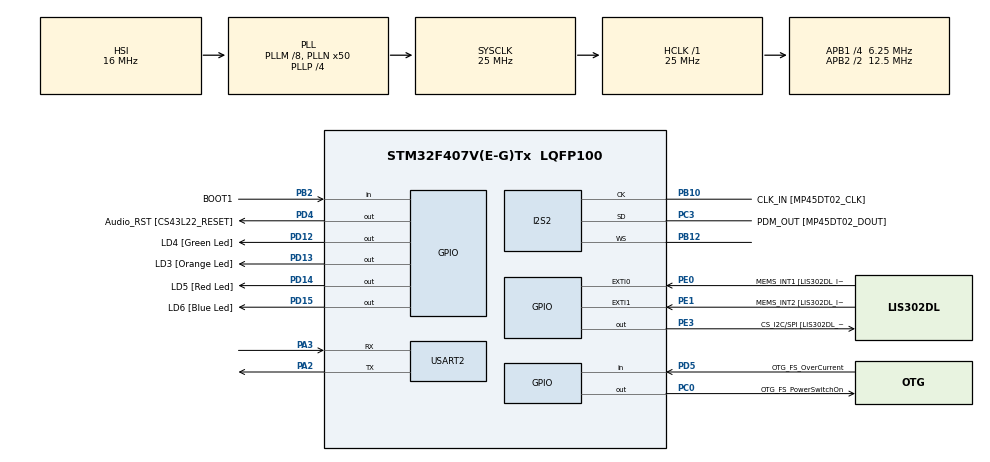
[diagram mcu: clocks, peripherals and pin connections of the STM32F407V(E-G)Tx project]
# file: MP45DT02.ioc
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I2S2.AudioFreq=I2S_AUDIOFREQ_192K
I2S2.ErrorAudioFreq=0.8 %
I2S2.FullDuplexMode=I2S_FULLDUPLEXMODE_DISABLE
I2S2.Instance=SPI$Index
I2S2.Mode=I2S_MODE_MASTER_RX
I2S2.RealAudioFreq=193.548 KHz
I2S2.VirtualMode=I2S_MODE_MASTER
Mcu.Family=STM32F4
Mcu.Name=STM32F407V(E-G)Tx
Mcu.Package=LQFP100
NVIC.PriorityGroup=NVIC_PRIORITYGROUP_0
PA10.GPIO_Label=OTG_FS_ID
PA10.GPIO_Mode=GPIO_MODE_AF_PP
PA10.GPIO_PuPd=GPIO_NOPULL
PA10.GPIO_Speed=GPIO_SPEED_FREQ_LOW
PA10.Signal=USB_OTG_FS_ID
PA11.GPIO_Label=OTG_FS_DM
PA11.GPIO_Mode=GPIO_MODE_AF_PP
PA11.GPIO_PuPd=GPIO_NOPULL
PA11.GPIO_Speed=GPIO_SPEED_FREQ_LOW
PA11.Signal=USB_OTG_FS_DM
PA12.GPIO_Label=OTG_FS_DP
PA12.GPIO_Mode=GPIO_MODE_AF_PP
PA12.GPIO_PuPd=GPIO_NOPULL
PA12.GPIO_Speed=GPIO_SPEED_FREQ_LOW
PA12.Signal=USB_OTG_FS_DP
PA13.GPIO_Label=SWDIO
PA13.Signal=SYS_JTMS-SWDIO
PA14.GPIO_Label=SWCLK
PA14.Signal=SYS_JTCK-SWCLK
PA2.Mode=Asynchronous
PA2.Signal=USART2_TX
PA3.Mode=Asynchronous
PA3.Signal=USART2_RX
PA4.GPIO_Label=I2S3_WS [CS43L22_LRCK]
PA4.GPIO_Mode=GPIO_MODE_AF_PP
PA4.GPIO_PuPd=GPIO_NOPULL
PA4.GPIO_Speed=GPIO_SPEED_FREQ_LOW
PA4.Signal=I2S3_WS
PA5.GPIO_Label=SPI1_SCK [LIS302DL_SCL/SPC]
PA5.GPIO_Mode=GPIO_MODE_AF_PP
PA5.GPIO_PuPd=GPIO_NOPULL
PA5.GPIO_Speed=GPIO_SPEED_FREQ_LOW
PA5.Signal=SPI1_SCK
PA6.GPIO_Label=SPI1_MISO [LIS302DL_SDO]
PA6.GPIO_Mode=GPIO_MODE_AF_PP
PA6.GPIO_PuPd=GPIO_NOPULL
PA6.GPIO_Speed=GPIO_SPEED_FREQ_LOW
PA6.Signal=SPI1_MISO
PA7.GPIO_Label=SPI1_MOSI [LIS302DL_SDA/SDI/SDO]
PA7.GPIO_Mode=GPIO_MODE_AF_PP
PA7.GPIO_PuPd=GPIO_NOPULL
PA7.GPIO_Speed=GPIO_SPEED_FREQ_LOW
PA7.Signal=SPI1_MOSI
PA9.GPIO_Label=VBUS_FS
PA9.GPIO_Mode=GPIO_MODE_INPUT
PA9.GPIO_PuPd=GPIO_NOPULL
PA9.Signal=USB_OTG_FS_VBUS
PB10.GPIO_Label=CLK_IN [MP45DT02_CLK]
PB10.GPIO_Mode=GPIO_MODE_AF_PP
PB10.GPIO_PuPd=GPIO_NOPULL
PB10.GPIO_Speed=GPIO_SPEED_FREQ_LOW
PB10.Mode=Half_Duplex_Master
PB10.Signal=I2S2_CK
PB12.Mode=Half_Duplex_Master
PB12.Signal=I2S2_WS
PB2.GPIO_Label=BOOT1
PB2.GPIO_Mode=GPIO_MODE_INPUT
PB2.GPIO_PuPd=GPIO_NOPULL
PB2.Signal=GPIO_Input
PB3.GPIO_Label=SWO
PB3.Signal=SYS_JTDO-SWO
PB6.GPIO_Label=Audio_SCL [CS43L22_SCL]
PB6.GPIO_Mode=GPIO_MODE_AF_OD
PB6.GPIO_PuPd=GPIO_NOPULL
PB6.GPIO_Speed=GPIO_SPEED_FREQ_LOW
PB6.Signal=I2C1_SCL
PB9.GPIO_Label=Audio_SDA [CS43L22_SDA]
PB9.GPIO_Mode=GPIO_MODE_AF_OD
PB9.GPIO_PuPd=GPIO_NOPULL
PB9.GPIO_Speed=GPIO_SPEED_FREQ_LOW
PB9.Signal=I2C1_SDA
PC0.GPIO_Label=OTG_FS_PowerSwitchOn
PC0.GPIO_PuPd=GPIO_NOPULL
PC0.GPIO_Speed=GPIO_SPEED_FREQ_LOW
PC0.PinState=GPIO_PIN_SET
PC0.Signal=GPIO_Output
PC10.GPIO_Label=I2S3_SCK [CS43L22_SCLK]
PC10.GPIO_Mode=GPIO_MODE_AF_PP
PC10.GPIO_PuPd=GPIO_NOPULL
PC10.GPIO_Speed=GPIO_SPEED_FREQ_LOW
PC10.Signal=I2S3_CK
PC12.GPIO_Label=I2S3_SD [CS43L22_SDIN]
PC12.GPIO_Mode=GPIO_MODE_AF_PP
PC12.GPIO_PuPd=GPIO_NOPULL
PC12.GPIO_Speed=GPIO_SPEED_FREQ_LOW
PC12.Signal=I2S3_SD
PC14-OSC32_IN.GPIO_Label=PC14-OSC32_IN
PC14-OSC32_IN.Signal=RCC_OSC32_IN
PC15-OSC32_OUT.GPIO_Label=PC15-OSC32_OUT
PC15-OSC32_OUT.Signal=RCC_OSC32_OUT
PC3.GPIO_Label=PDM_OUT [MP45DT02_DOUT]
PC3.GPIO_Mode=GPIO_MODE_AF_PP
PC3.GPIO_PuPd=GPIO_NOPULL
PC3.GPIO_Speed=GPIO_SPEED_FREQ_LOW
PC3.Mode=Half_Duplex_Master
PC3.Signal=I2S2_SD
PC7.GPIO_Label=I2S3_MCK [CS43L22_MCLK]
PC7.GPIO_Mode=GPIO_MODE_AF_PP
PC7.GPIO_PuPd=GPIO_NOPULL
PC7.GPIO_Speed=GPIO_SPEED_FREQ_LOW
PC7.Signal=I2S3_MCK
PD12.GPIO_Label=LD4 [Green Led]
PD12.GPIO_PuPd=GPIO_NOPULL
PD12.GPIO_Speed=GPIO_SPEED_FREQ_LOW
PD12.Signal=GPIO_Output
PD13.GPIO_Label=LD3 [Orange Led]
PD13.GPIO_PuPd=GPIO_NOPULL
PD13.GPIO_Speed=GPIO_SPEED_FREQ_LOW
PD13.Signal=GPIO_Output
PD14.GPIO_Label=LD5 [Red Led]
PD14.GPIO_PuPd=GPIO_NOPULL
PD14.GPIO_Speed=GPIO_SPEED_FREQ_LOW
PD14.Signal=GPIO_Output
PD15.GPIO_Label=LD6 [Blue Led]
PD15.GPIO_PuPd=GPIO_NOPULL
PD15.GPIO_Speed=GPIO_SPEED_FREQ_LOW
PD15.Signal=GPIO_Output
PD4.GPIO_Label=Audio_RST [CS43L22_RESET]
PD4.GPIO_PuPd=GPIO_NOPULL
PD4.GPIO_Speed=GPIO_SPEED_FREQ_LOW
PD4.Signal=GPIO_Output
PD5.GPIO_Label=OTG_FS_OverCurrent
PD5.GPIO_Mode=GPIO_MODE_INPUT
PD5.GPIO_PuPd=GPIO_NOPULL
PD5.Signal=GPIO_Input
PE0.GPIO_Label=MEMS_INT1 [LIS302DL_INT1]
PE0.Signal=GPXTI0
PE1.GPIO_Label=MEMS_INT2 [LIS302DL_INT2]
PE1.GPIO_ModeDefaultEXTI=GPIO_MODE_EVT_RISING
PE1.GPIO_PuPd=GPIO_NOPULL
PE1.Signal=GPXTI1
PE3.GPIO_Label=CS_I2C/SPI [LIS302DL_CS_I2C/SPI]
PE3.GPIO_PuPd=GPIO_NOPULL
PE3.GPIO_Speed=GPIO_SPEED_FREQ_LOW
PE3.Signal=GPIO_Output
PH0-OSC_IN.GPIO_Label=PH0-OSC_IN
PH0-OSC_IN.Signal=RCC_OSC_IN
PH1-OSC_OUT.GPIO_Label=PH1-OSC_OUT
PH1-OSC_OUT.Signal=RCC_OSC_OUT
ProjectManager.HeapSize=0x200
ProjectManager.StackSize=0x400
ProjectManager.TargetToolchain=SW4STM32
RCC.48MHZClocksFreq_Value=14285714.285714285
RCC.AHBFreq_Value=25000000
RCC.APB1CLKDivider=RCC_HCLK_DIV4
RCC.APB1Freq_Value=6250000
RCC.APB1TimFreq_Value=12500000
RCC.APB2CLKDivider=RCC_HCLK_DIV2
RCC.APB2Freq_Value=12500000
RCC.APB2TimFreq_Value=25000000
RCC.CortexFreq_Value=25000000
RCC.HCLKFreq_Value=25000000
RCC.HSE_VALUE=8000000
RCC.HSI_VALUE=16000000
RCC.LSE_VALUE=32768
RCC.PLLM=8
RCC.PLLN=50
RCC.PLLP=RCC_PLLP_DIV4
RCC.PLLQ=7
RCC.SYSCLKFreq_VALUE=25000000
RCC.SYSCLKSource=RCC_SYSCLKSOURCE_PLLCLK
RCC.VCOOutputFreq_Value=100000000
USART2.VirtualMode=VM_ASYNC
board=STM32F407G-DISC1

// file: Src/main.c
/**
 ******************************************************************************
 * File Name          : main.c
 * Description        : Main program body
 ******************************************************************************
 *
 * COPYRIGHT(c) 2559 STMicroelectronics
 *
 * Redistribution and use in source and binary forms, with or without modification,
 * are permitted provided that the following conditions are met:
 *   1. Redistributions of source code must retain the above copyright notice,
 *      this list of conditions and the following disclaimer.
 *   2. Redistributions in binary form must reproduce the above copyright notice,
 *      this list of conditions and the following disclaimer in the documentation
 *      and/or other materials provided with the distribution.
 *   3. Neither the name of STMicroelectronics nor the names of its contributors
 *      may be used to endorse or promote products derived from this software
 *      without specific prior written permission.
 *
 * THIS SOFTWARE IS PROVIDED BY THE COPYRIGHT HOLDERS AND CONTRIBUTORS "AS IS"
 * AND ANY EXPRESS OR IMPLIED WARRANTIES, INCLUDING, BUT NOT LIMITED TO, THE
 * IMPLIED WARRANTIES OF MERCHANTABILITY AND FITNESS FOR A PARTICULAR PURPOSE ARE
 * DISCLAIMED. IN NO EVENT SHALL THE COPYRIGHT HOLDER OR CONTRIBUTORS BE LIABLE
 * FOR ANY DIRECT, INDIRECT, INCIDENTAL, SPECIAL, EXEMPLARY, OR CONSEQUENTIAL
 * DAMAGES (INCLUDING, BUT NOT LIMITED TO, PROCUREMENT OF SUBSTITUTE GOODS OR
 * SERVICES; LOSS OF USE, DATA, OR PROFITS; OR BUSINESS INTERRUPTION) HOWEVER
 * CAUSED AND ON ANY THEORY OF LIABILITY, WHETHER IN CONTRACT, STRICT LIABILITY,
 * OR TORT (INCLUDING NEGLIGENCE OR OTHERWISE) ARISING IN ANY WAY OUT OF THE USE
 * OF THIS SOFTWARE, EVEN IF ADVISED OF THE POSSIBILITY OF SUCH DAMAGE.
 *
 ******************************************************************************
 */
#include "main.h"
#include "stm32f4xx_hal.h"
#include <string.h>

I2S_HandleTypeDef hi2s2;

UART_HandleTypeDef huart2;

/* USER CODE BEGIN PV */
/* Private variables ---------------------------------------------------------*/
//float test[2];
/* USER CODE END PV */

#define PDM_BUFFER_SIZE 20
#define PCM_BUFFER_SIZE 1000
#define LEAKY_KEEP_RATE 0.95
#define UART_DEBUG_TICK_RATE 100
#define PDM_BLOCK_SIZE_BITS 16

void SystemClock_Config(void);
void Error_Handler(void);
static void MX_GPIO_Init(void);
static void MX_I2S2_Init(void);
static void MX_USART2_UART_Init(void);

/* USER CODE BEGIN PFP */
/* Private function prototypes -----------------------------------------------*/

/* USER CODE END PFP */

/* USER CODE BEGIN 0 */

float absFloat(float floa) {
	return floa < 0 ? -floa : floa;
}

/* USER CODE END 0 */

int main(void) {

	/* USER CODE BEGIN 1 */
	uint16_t PDM_buffer[PDM_BUFFER_SIZE];
	uint16_t PDM_value = 0; // from microphone (MP45DT02) by I2S receive...
	uint16_t pcmCount = 0;

	uint8_t i;
	uint8_t PCM_value = 0;

	float leaky_PCM_buffer = 0.0;
	float leaky_AMP_buffer = 0.0;

	char uart_temp_display_buffer[100];

	//double pcm_square = 0;
	float maxAmp = 0;
	int check = 0;

	/* USER CODE END 1 */

	HAL_Init();

	/* Configure the system clock */
	SystemClock_Config();

	/* Initialize all configured peripherals */
	MX_GPIO_Init();
	MX_I2S2_Init();
	MX_USART2_UART_Init();

	/* Infinite loop */
	while (1) {

		/* USER CODE BEGIN 3 */
		HAL_I2S_Receive(&hi2s2, PDM_buffer, PDM_BUFFER_SIZE, 1000);

		//calculate...

		for (i = 0; i < PDM_BUFFER_SIZE; i++) {
			//to start from -8 to 8 (change from only 16 bits to signed number)
			PCM_value = -PDM_BLOCK_SIZE_BITS / 2;
			PDM_value = PDM_buffer[i];
			//count '1' in pdm value
			while (PDM_value != 0)
			{
				PCM_value++;
				PDM_value ^= PDM_value & -PDM_value;
			}

			leaky_PCM_buffer += PCM_value;
			leaky_PCM_buffer *= LEAKY_KEEP_RATE;
			leaky_AMP_buffer += absFloat(leaky_PCM_buffer);
			leaky_AMP_buffer *= LEAKY_KEEP_RATE;
			//test[0] = leaky_PCM_buffer;
			//test[1] = leaky_AMP_buffer;

		}

		pcmCount++;

		if (maxAmp < leaky_AMP_buffer) // save new maxAmp...
			maxAmp = leaky_AMP_buffer;

		//pcm_square += (leaky_AMP_buffer / 500) * leaky_AMP_buffer;

		if (pcmCount == 500) { //wait...
			if(maxAmp >= 65000 && check == 0){
				//HAL_GPIO_TogglePin(GPIOD, 1<<12);
				check = 1;
				int d[1] = {1};
				sprintf(uart_temp_display_buffer, d, sizeof(d)); //save new format for OUTPUT...
				HAL_UART_Transmit(&huart2, (uint8_t*)uart_temp_display_buffer, strlen(uart_temp_display_buffer), 100);
				//HAL_Delay(100);
			} else {
				check = 0;
			}
			//"L : %d\n\r"

			// output...

			pcmCount = 0;
			//pcm_square = 0;
			maxAmp = 0;
			leaky_PCM_buffer = 0;
			leaky_AMP_buffer = 0;

		}
	}
	/* USER CODE END 3 */

}

/** System Clock Configuration
 */
void SystemClock_Config(void) {

	RCC_OscInitTypeDef RCC_OscInitStruct;
	RCC_ClkInitTypeDef RCC_ClkInitStruct;
	RCC_PeriphCLKInitTypeDef PeriphClkInitStruct;

	/**Configure the main internal regulator output voltage
	 */
	__HAL_RCC_PWR_CLK_ENABLE()
	;

	__HAL_PWR_VOLTAGESCALING_CONFIG(PWR_REGULATOR_VOLTAGE_SCALE1);

	/**Initializes the CPU, AHB and APB busses clocks
	 */
	RCC_OscInitStruct.OscillatorType = RCC_OSCILLATORTYPE_HSI;
	RCC_OscInitStruct.HSIState = RCC_HSI_ON;
	RCC_OscInitStruct.HSICalibrationValue = 16;
	RCC_OscInitStruct.PLL.PLLState = RCC_PLL_ON;
	RCC_OscInitStruct.PLL.PLLSource = RCC_PLLSOURCE_HSI;
	RCC_OscInitStruct.PLL.PLLM = 8;
	RCC_OscInitStruct.PLL.PLLN = 50;
	RCC_OscInitStruct.PLL.PLLP = RCC_PLLP_DIV4;
	RCC_OscInitStruct.PLL.PLLQ = 7;
	if (HAL_RCC_OscConfig(&RCC_OscInitStruct) != HAL_OK) {
		Error_Handler();
	}

	/**Initializes the CPU, AHB and APB busses clocks
	 */
	RCC_ClkInitStruct.ClockType = RCC_CLOCKTYPE_HCLK | RCC_CLOCKTYPE_SYSCLK
			| RCC_CLOCKTYPE_PCLK1 | RCC_CLOCKTYPE_PCLK2;
	RCC_ClkInitStruct.SYSCLKSource = RCC_SYSCLKSOURCE_PLLCLK;
	RCC_ClkInitStruct.AHBCLKDivider = RCC_SYSCLK_DIV1;
	RCC_ClkInitStruct.APB1CLKDivider = RCC_HCLK_DIV4;
	RCC_ClkInitStruct.APB2CLKDivider = RCC_HCLK_DIV2;

	if (HAL_RCC_ClockConfig(&RCC_ClkInitStruct, FLASH_LATENCY_0) != HAL_OK) {
		Error_Handler();
	}

	PeriphClkInitStruct.PeriphClockSelection = RCC_PERIPHCLK_I2S;
	PeriphClkInitStruct.PLLI2S.PLLI2SN = 192;
	PeriphClkInitStruct.PLLI2S.PLLI2SR = 2;
	if (HAL_RCCEx_PeriphCLKConfig(&PeriphClkInitStruct) != HAL_OK) {
		Error_Handler();
	}

	/**Configure the Systick interrupt time
	 */
	HAL_SYSTICK_Config(HAL_RCC_GetHCLKFreq() / 1000);

	/**Configure the Systick
	 */
	HAL_SYSTICK_CLKSourceConfig(SYSTICK_CLKSOURCE_HCLK);

	/* SysTick_IRQn interrupt configuration */
	HAL_NVIC_SetPriority(SysTick_IRQn, 0, 0);
}

/* I2S2 init function */
static void MX_I2S2_Init(void) {

	hi2s2.Instance = SPI2;
	hi2s2.Init.Mode = I2S_MODE_MASTER_RX;
	hi2s2.Init.Standard = I2S_STANDARD_PHILIPS;
	hi2s2.Init.DataFormat = I2S_DATAFORMAT_16B;
	hi2s2.Init.MCLKOutput = I2S_MCLKOUTPUT_DISABLE;
	hi2s2.Init.AudioFreq = I2S_AUDIOFREQ_192K;
	hi2s2.Init.CPOL = I2S_CPOL_LOW;
	hi2s2.Init.ClockSource = I2S_CLOCK_PLL;
	hi2s2.Init.FullDuplexMode = I2S_FULLDUPLEXMODE_DISABLE;
	if (HAL_I2S_Init(&hi2s2) != HAL_OK) {
		Error_Handler();
	}

}

/* USART2 init function */
static void MX_USART2_UART_Init(void) {

	huart2.Instance = USART2;
	huart2.Init.BaudRate = 115200;
	huart2.Init.WordLength = UART_WORDLENGTH_8B;
	huart2.Init.StopBits = UART_STOPBITS_1;
	huart2.Init.Parity = UART_PARITY_NONE;
	huart2.Init.Mode = UART_MODE_TX_RX;
	huart2.Init.HwFlowCtl = UART_HWCONTROL_NONE;
	huart2.Init.OverSampling = UART_OVERSAMPLING_16;
	if (HAL_UART_Init(&huart2) != HAL_OK) {
		Error_Handler();
	}

}

/** Configure pins as
 * Analog
 * Input
 * Output
 * EVENT_OUT
 * EXTI
 PA4   ------> I2S3_WS
 PA5   ------> SPI1_SCK
 PA6   ------> SPI1_MISO
 PA7   ------> SPI1_MOSI
 PC7   ------> I2S3_MCK
 PA9   ------> USB_OTG_FS_VBUS
 PA10   ------> USB_OTG_FS_ID
 PA11   ------> USB_OTG_FS_DM
 PA12   ------> USB_OTG_FS_DP
 PC10   ------> I2S3_CK
 PC12   ------> I2S3_SD
 PB6   ------> I2C1_SCL
 PB9   ------> I2C1_SDA
 */
static void MX_GPIO_Init(void) {

	GPIO_InitTypeDef GPIO_InitStruct;

	/* GPIO Ports Clock Enable */
	__HAL_RCC_GPIOE_CLK_ENABLE()
	;
	__HAL_RCC_GPIOC_CLK_ENABLE()
	;
	__HAL_RCC_GPIOH_CLK_ENABLE()
	;
	__HAL_RCC_GPIOA_CLK_ENABLE()
	;
	__HAL_RCC_GPIOB_CLK_ENABLE()
	;
	__HAL_RCC_GPIOD_CLK_ENABLE()
	;

	/*Configure GPIO pin Output Level */
	HAL_GPIO_WritePin(CS_I2C_SPI_GPIO_Port, CS_I2C_SPI_Pin, GPIO_PIN_RESET);

	/*Configure GPIO pin Output Level */
	HAL_GPIO_WritePin(OTG_FS_PowerSwitchOn_GPIO_Port, OTG_FS_PowerSwitchOn_Pin,
			GPIO_PIN_SET);

	/*Configure GPIO pin Output Level */
	HAL_GPIO_WritePin(GPIOD,
			LD4_Pin | LD3_Pin | LD5_Pin | LD6_Pin | Audio_RST_Pin,
			GPIO_PIN_RESET);

	/*Configure GPIO pin : CS_I2C_SPI_Pin */
	GPIO_InitStruct.Pin = CS_I2C_SPI_Pin;
	GPIO_InitStruct.Mode = GPIO_MODE_OUTPUT_PP;
	GPIO_InitStruct.Pull = GPIO_NOPULL;
	GPIO_InitStruct.Speed = GPIO_SPEED_FREQ_LOW;
	HAL_GPIO_Init(CS_I2C_SPI_GPIO_Port, &GPIO_InitStruct);

	/*Configure GPIO pin : OTG_FS_PowerSwitchOn_Pin */
	GPIO_InitStruct.Pin = OTG_FS_PowerSwitchOn_Pin;
	GPIO_InitStruct.Mode = GPIO_MODE_OUTPUT_PP;
	GPIO_InitStruct.Pull = GPIO_NOPULL;
	GPIO_InitStruct.Speed = GPIO_SPEED_FREQ_LOW;
	HAL_GPIO_Init(OTG_FS_PowerSwitchOn_GPIO_Port, &GPIO_InitStruct);

	/*Configure GPIO pin : PA4 */
	GPIO_InitStruct.Pin = GPIO_PIN_4;
	GPIO_InitStruct.Mode = GPIO_MODE_AF_PP;
	GPIO_InitStruct.Pull = GPIO_NOPULL;
	GPIO_InitStruct.Speed = GPIO_SPEED_FREQ_LOW;
	GPIO_InitStruct.Alternate = GPIO_AF6_SPI3;
	HAL_GPIO_Init(GPIOA, &GPIO_InitStruct);

	/*Configure GPIO pins : PA5 PA6 PA7 */
	GPIO_InitStruct.Pin = GPIO_PIN_5 | GPIO_PIN_6 | GPIO_PIN_7;
	GPIO_InitStruct.Mode = GPIO_MODE_AF_PP;
	GPIO_InitStruct.Pull = GPIO_NOPULL;
	GPIO_InitStruct.Speed = GPIO_SPEED_FREQ_LOW;
	GPIO_InitStruct.Alternate = GPIO_AF5_SPI1;
	HAL_GPIO_Init(GPIOA, &GPIO_InitStruct);

	/*Configure GPIO pin : BOOT1_Pin */
	GPIO_InitStruct.Pin = BOOT1_Pin;
	GPIO_InitStruct.Mode = GPIO_MODE_INPUT;
	GPIO_InitStruct.Pull = GPIO_NOPULL;
	HAL_GPIO_Init(BOOT1_GPIO_Port, &GPIO_InitStruct);

	/*Configure GPIO pins : LD4_Pin LD3_Pin LD5_Pin LD6_Pin
	 Audio_RST_Pin */
	GPIO_InitStruct.Pin = LD4_Pin | LD3_Pin | LD5_Pin | LD6_Pin | Audio_RST_Pin;
	GPIO_InitStruct.Mode = GPIO_MODE_OUTPUT_PP;
	GPIO_InitStruct.Pull = GPIO_NOPULL;
	GPIO_InitStruct.Speed = GPIO_SPEED_FREQ_LOW;
	HAL_GPIO_Init(GPIOD, &GPIO_InitStruct);

	/*Configure GPIO pins : PC7 I2S3_SCK_Pin PC12 */
	GPIO_InitStruct.Pin = GPIO_PIN_7 | I2S3_SCK_Pin | GPIO_PIN_12;
	GPIO_InitStruct.Mode = GPIO_MODE_AF_PP;
	GPIO_InitStruct.Pull = GPIO_NOPULL;
	GPIO_InitStruct.Speed = GPIO_SPEED_FREQ_LOW;
	GPIO_InitStruct.Alternate = GPIO_AF6_SPI3;
	HAL_GPIO_Init(GPIOC, &GPIO_InitStruct);

	/*Configure GPIO pin : VBUS_FS_Pin */
	GPIO_InitStruct.Pin = VBUS_FS_Pin;
	GPIO_InitStruct.Mode = GPIO_MODE_INPUT;
	GPIO_InitStruct.Pull = GPIO_NOPULL;
	HAL_GPIO_Init(VBUS_FS_GPIO_Port, &GPIO_InitStruct);

	/*Configure GPIO pins : OTG_FS_ID_Pin OTG_FS_DM_Pin OTG_FS_DP_Pin */
	GPIO_InitStruct.Pin = OTG_FS_ID_Pin | OTG_FS_DM_Pin | OTG_FS_DP_Pin;
	GPIO_InitStruct.Mode = GPIO_MODE_AF_PP;
	GPIO_InitStruct.Pull = GPIO_NOPULL;
	GPIO_InitStruct.Speed = GPIO_SPEED_FREQ_LOW;
	GPIO_InitStruct.Alternate = GPIO_AF10_OTG_FS;
	HAL_GPIO_Init(GPIOA, &GPIO_InitStruct);

	/*Configure GPIO pin : OTG_FS_OverCurrent_Pin */
	GPIO_InitStruct.Pin = OTG_FS_OverCurrent_Pin;
	GPIO_InitStruct.Mode = GPIO_MODE_INPUT;
	GPIO_InitStruct.Pull = GPIO_NOPULL;
	HAL_GPIO_Init(OTG_FS_OverCurrent_GPIO_Port, &GPIO_InitStruct);

	/*Configure GPIO pins : Audio_SCL_Pin Audio_SDA_Pin */
	GPIO_InitStruct.Pin = Audio_SCL_Pin | Audio_SDA_Pin;
	GPIO_InitStruct.Mode = GPIO_MODE_AF_OD;
	GPIO_InitStruct.Pull = GPIO_PULLUP;
	GPIO_InitStruct.Speed = GPIO_SPEED_FREQ_LOW;
	GPIO_InitStruct.Alternate = GPIO_AF4_I2C1;
	HAL_GPIO_Init(GPIOB, &GPIO_InitStruct);

	/*Configure GPIO pin : MEMS_INT1_Pin */
	GPIO_InitStruct.Pin = MEMS_INT1_Pin;
	GPIO_InitStruct.Mode = GPIO_MODE_IT_RISING;
	GPIO_InitStruct.Pull = GPIO_NOPULL;
	HAL_GPIO_Init(MEMS_INT1_GPIO_Port, &GPIO_InitStruct);

	/*Configure GPIO pin : MEMS_INT2_Pin */
	GPIO_InitStruct.Pin = MEMS_INT2_Pin;
	GPIO_InitStruct.Mode = GPIO_MODE_EVT_RISING;
	GPIO_InitStruct.Pull = GPIO_NOPULL;
	HAL_GPIO_Init(MEMS_INT2_GPIO_Port, &GPIO_InitStruct);

}

void Error_Handler(void) {
	while (1) {
	}
}

/************************ (C) COPYRIGHT STMicroelectronics *****END OF FILE****/
